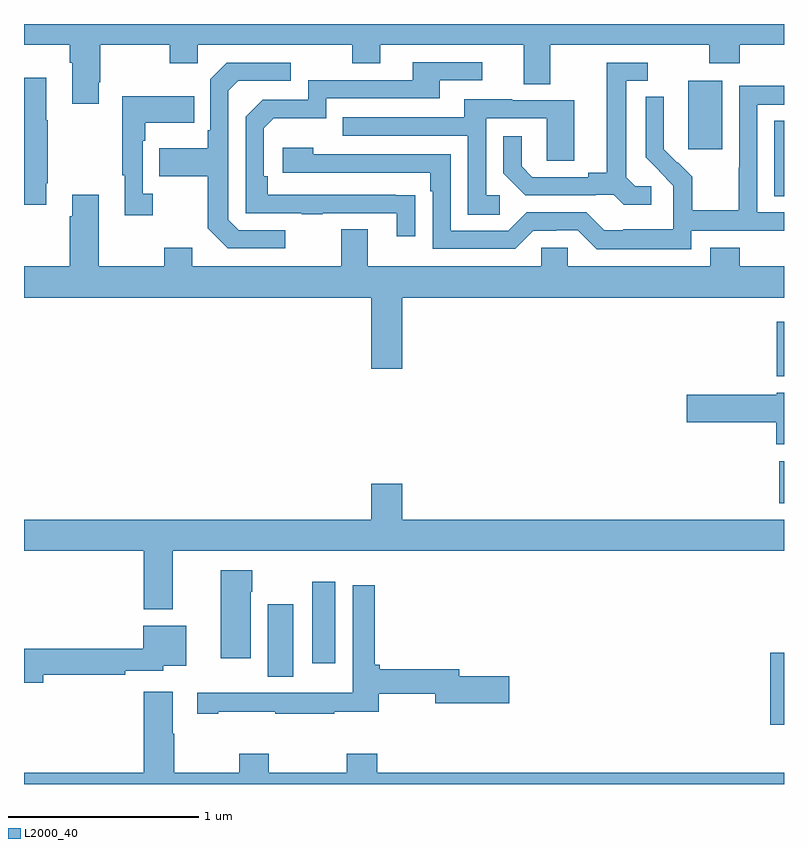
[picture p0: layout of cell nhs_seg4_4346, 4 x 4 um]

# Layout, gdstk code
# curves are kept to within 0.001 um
import gdstk
lib = gdstk.Library(unit=1e-6, precision=1e-09)
def R(c, l, rs):  # rectangles x0, y0, x1, y1
    for r in rs: c.add(gdstk.rectangle(r[:2], r[2:], *l))
def P(c, l, *ps):  # polygons
    for p in ps: c.add(gdstk.Polygon(p, *l))
L2000_40 = (2000, 40)

nhs_seg4_4346 = lib.new_cell('nhs_seg4_4346')
R(nhs_seg4_4346, L2000_40, [(346.928,821.211,347,821.592), (344.282,821.464,344.416,821.845), (344.516,821.535,344.638,821.965), (346.975,822.377,347,822.598), (346.961,823.046,347,823.333), (346.949,823.993,347,824.39), (346.496,824.241,346.675,824.602)])
P(nhs_seg4_4346, L2000_40, [(343.393,824.593),(343.401,824.593),(343.401,824.792),(343.768,824.792),(343.768,824.693),(343.914,824.693),(343.914,824.792),(344.728,824.792),(344.728,824.693),(344.875,824.693),(344.875,824.792),(345.629,824.792),(345.629,824.584),(345.769,824.584),(345.769,824.792),(346.606,824.792),(346.606,824.693),(346.766,824.693),(346.766,824.792),(347,824.792),(347,824.9),(343,824.9),(343,824.792),(343.241,824.792),(343.241,824.696),(343.253,824.696),(343.253,824.481),(343.393,824.481)],
  [(345.059,824),(344.282,824.001),(344.282,824.098),(344.262,824.098),(344.262,824.352),(344.315,824.405),(344.592,824.405),(344.592,824.508),(345.187,824.508),(345.187,824.604),(345.412,824.604),(345.412,824.7),(345.047,824.7),(345.047,824.604),(344.496,824.604),(344.496,824.502),(344.256,824.502),(344.166,824.412),(344.166,823.905),(344.461,823.905),(344.461,823.9),(344.573,823.9),(344.573,823.905),(344.963,823.905),(344.963,823.782),(345.059,823.782)],
  [(346.3,824.046),(346.218,824.046),(346.171,824.093),(346.171,824.601),(346.282,824.601),(346.282,824.697),(346.067,824.697),(346.067,824.117),(345.971,824.117),(345.971,824.094),(345.676,824.094),(345.619,824.151),(345.619,824.308),(345.522,824.308),(345.522,824.114),(345.638,823.998),(346.01,823.998),(346.01,824.001),(346.104,824.001),(346.156,823.949),(346.3,823.949)],
  [(344.374,823.815),(344.13,823.815),(344.076,823.869),(344.076,824.55),(344.127,824.601),(344.404,824.601),(344.404,824.697),(344.067,824.697),(343.98,824.61),(343.98,824.341),(343.968,824.341),(343.968,824.245),(343.711,824.245),(343.711,824.098),(343.968,824.098),(343.968,823.825),(344.073,823.719),(344.374,823.719)],
  [(343.117,824.062),(343.125,824.062),(343.125,824.393),(343.117,824.393),(343.117,824.617),(343,824.617),(343,823.95),(343.117,823.95)],
  [(346.512,823.812),(347,823.812),(347,823.908),(346.86,823.908),(346.86,824.475),(347,824.475),(347,824.574),(346.764,824.574),(346.764,824.144),(346.762,824.144),(346.762,823.921),(346.517,823.921),(346.517,824.095),(346.44,824.172),(346.437,824.169),(346.367,824.24),(346.368,824.516),(346.272,824.516),(346.272,824.198),(346.418,824.05),(346.418,823.953),(346.416,823.953),(346.416,823.819),(346.153,823.819),(346.153,823.815),(346.053,823.815),(345.96,823.908),(345.645,823.908),(345.549,823.812),(345.246,823.812),(345.246,824.214),(344.522,824.214),(344.522,824.248),(344.361,824.248),(344.361,824.118),(345.137,824.118),(345.137,824.021),(345.15,824.021),(345.15,823.716),(345.585,823.716),(345.681,823.812),(345.8,823.812),(345.8,823.815),(345.915,823.815),(346.015,823.715),(346.512,823.715)],
  [(343.678,824.006),(343.626,824.006),(343.626,824.285),(343.639,824.285),(343.639,824.381),(343.895,824.381),(343.895,824.521),(343.518,824.521),(343.518,824.105),(343.529,824.105),(343.529,823.893),(343.678,823.893)],
  [(345.505,823.998),(345.432,823.998),(345.432,824.403),(345.75,824.403),(345.75,824.179),(345.895,824.179),(345.895,824.499),(345.571,824.499),(345.571,824.503),(345.317,824.503),(345.317,824.409),(344.677,824.409),(344.677,824.313),(345.336,824.313),(345.336,823.897),(345.505,823.897)],
  [(344.992,823.46),(347,823.46),(347,823.624),(346.766,823.624),(346.766,823.723),(346.613,823.723),(346.613,823.624),(345.861,823.624),(345.861,823.722),(345.723,823.722),(345.723,823.624),(344.809,823.624),(344.809,823.819),(344.669,823.819),(344.669,823.624),(343.885,823.624),(343.885,823.723),(343.738,823.723),(343.738,823.624),(343.393,823.624),(343.393,824.002),(343.253,824.002),(343.253,823.889),(343.241,823.889),(343.241,823.624),(343,823.624),(343,823.46),(344.828,823.46),(344.828,823.086),(344.992,823.086)],
  [(347,822.958),(346.962,822.958),(346.962,822.95),(346.488,822.95),(346.488,822.803),(346.958,822.803),(346.958,822.689),(347,822.689)],
  [(343.783,822.128),(347,822.128),(347,822.292),(344.992,822.292),(344.992,822.481),(344.828,822.481),(344.828,822.292),(343,822.292),(343,822.128),(343.631,822.128),(343.631,821.819),(343.783,821.819)],
  [(344.194,821.912),(344.202,821.912),(344.202,822.025),(344.036,822.025),(344.036,821.562),(344.194,821.562)],
  [(344.023,821.281),(344.323,821.281),(344.323,821.271),(344.633,821.271),(344.633,821.281),(344.868,821.281),(344.868,821.376),(345.164,821.376),(345.164,821.326),(345.553,821.326),(345.553,821.468),(345.292,821.468),(345.292,821.504),(344.873,821.504),(344.873,821.528),(344.846,821.528),(344.846,821.947),(344.73,821.947),(344.73,821.38),(344.52,821.38),(344.52,821.379),(344.186,821.379),(344.186,821.381),(343.911,821.381),(343.911,821.271),(344.023,821.271)],
  [(343.102,821.476),(343.532,821.476),(343.532,821.496),(343.734,821.496),(343.734,821.522),(343.855,821.522),(343.855,821.734),(343.628,821.734),(343.628,821.612),(343,821.612),(343,821.434),(343.102,821.434)],
  [(347,820.96),(344.858,820.96),(344.858,821.059),(344.698,821.059),(344.698,820.96),(344.289,820.96),(344.289,821.059),(344.134,821.059),(344.134,820.96),(343.791,820.96),(343.791,821.165),(343.783,821.165),(343.783,821.386),(343.631,821.386),(343.631,820.96),(343,820.96),(343,820.9),(347,820.9)])

lib.write_gds('nhs_seg4_4346.gds')
